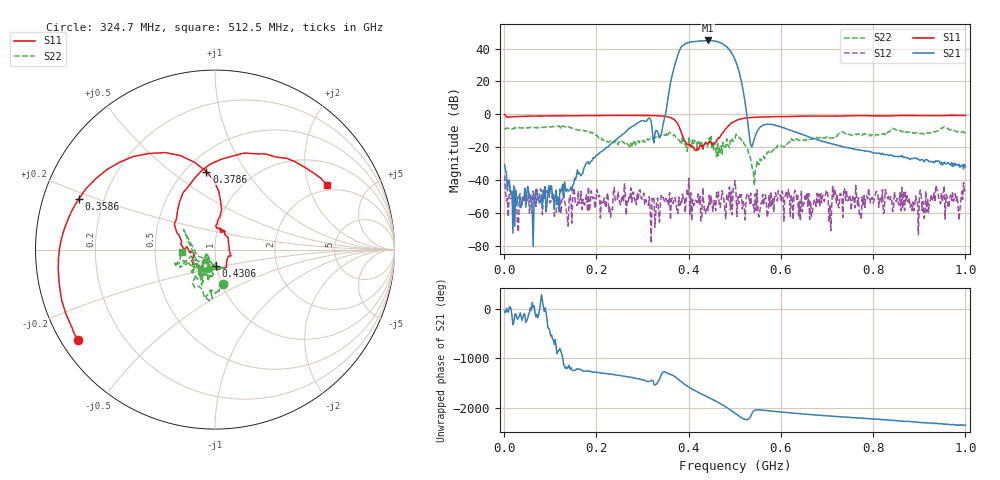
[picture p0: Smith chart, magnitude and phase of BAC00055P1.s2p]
!measured: 2026-10-27T15:26:18
!cal_instance: BBtestOct27
!cal_created: 2026-10-27T14:45
!cal_file: BBtesting.cal
!port1_delay_ps: -58.63
!port2_delay_ps: -59.31
!host: dhcp-10-250-247-203.harvard.edu
! Created with skrf 2.1.0 (http://scikit-rf.org).
# Hz S RI R 50.0
!freq ReS11 ImS11 ReS21 ImS21 ReS12 ImS12 ReS22 ImS22
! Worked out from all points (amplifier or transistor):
!   501 points, 1 MHz to 1 GHz, reference 50 ohm
!   highest |S21| = 45.0 dB at 442.6 MHz (marker M1)
!   |S21| within 3 dB of that: 387.7 MHz to 478.5 MHz (90.82 MHz wide, 21 % of centre)
!   unconditionally stable (mu >= 1): start of sweep to 399.7 MHz; 430.9 MHz to 488.3 MHz; 488.7 MHz to end of sweep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
!   at 166.8 MHz: K = 1274.66, MAG = -29.4 dB, |S12| = -46.8 dB
!   at 500.5 MHz: K = 1.00, MAG = 36.5 dB, |S12| = -40.4 dB
!   at 1 GHz: K = 433.44, MAG = -23.1 dB, |S12| = -44.5 dB
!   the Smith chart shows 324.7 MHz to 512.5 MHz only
!   S11 on the Smith chart (normalised r, x): 324.7 MHz: 0.05, -0.30; 358.6 MHz: 0.11, +0.18; 378.6 MHz: 0.63, +0.68; 430.6 MHz: 1.00, -0.19; 512.5 MHz: 1.77, +2.66
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1000000  -0.3696 0.9186  0.0169 -0.024  -0.00247 -0.0136  0.3684 -0.0559
1.68832e8  0.4853 -0.7707  -0.0145 -0.00503  -0.000389 0.00121  -0.0155 -0.3228
3.24676e8  -0.7626 -0.5009  0.0196 -0.1349  0.00298 0.000529  0.0468 -0.1917
3.34666e8  -0.8401 -0.3275  0.2244 -0.0829  -0.00088 -0.00087  0.0489 -0.2061
3.58642e8  -0.7591 0.2823  -3.012 5.451  -0.00332 -0.00247  -0.0301 -0.2848
3.78622e8  -0.0478 0.4346  77.05 8.947  0.000925 0.00289  -0.1239 -0.1102
3.86614e8  0.037 0.2251  76.03 -95.77  -0.00337 -0.00157  -0.1976 -0.099
3.94606e8  0.00428 0.1326  -42.4 -138.1  -9.08e-05 0.00262  -0.0736 -0.0774
4.08592e8  0.0545 0.0837  -161.5 16.5  -0.00018 0.00251  -0.0913 -0.1398
4.2058e8  0.0741 -0.0363  -73.28 152  -0.000455 0.00377  -0.0866 -0.119
4.3057e8  0.00733 -0.0925  59.79 163.2  -0.00321 0.00495  -0.0633 -0.0567
4.42558e8  -0.1052 -0.0791  171.5 46.32  -3.96e-06 -0.00116  -0.0836 -0.1077
4.5055e8  -0.1193 -0.0339  162.2 -67.56  -0.000115 -0.00187  -0.0606 -0.0614
4.6054e8  -0.1568 0.0157  53.32 -156.4  0.00388 -0.00167  -0.0475 -0.0189
4.68532e8  -0.1985 0.0764  -58.5 -140.5  0.00142 -0.000301  0.0109 -0.0676
4.76524e8  -0.2072 0.226  -121.2 -52.63  0.00247 -0.000162  0.0181 -0.1056
4.88512e8  -0.0234 0.4777  -61.34 68.87  -0.00612 -0.000374  -0.0126 -0.0942
5.005e8  0.3391 0.5157  27.23 37.34  0.00959 0.000167  -0.175 -0.0611
5.12488e8  0.6247 0.3606  12.01 -5.457  -0.000695 -0.00263  -0.1835 -0.0153
6.68332e8  0.00904 -0.8864  0.174 0.0736  -0.00102 0.000327  0.0319 -0.171
8.34166e8  -0.6189 -0.6514  0.00561 -0.055  -0.000586 0.00326  -0.1764 -0.2298
1e9  -0.8944 -0.2417  -0.0252 0.00246  0.00538 0.00248  -0.2462 -0.1502
